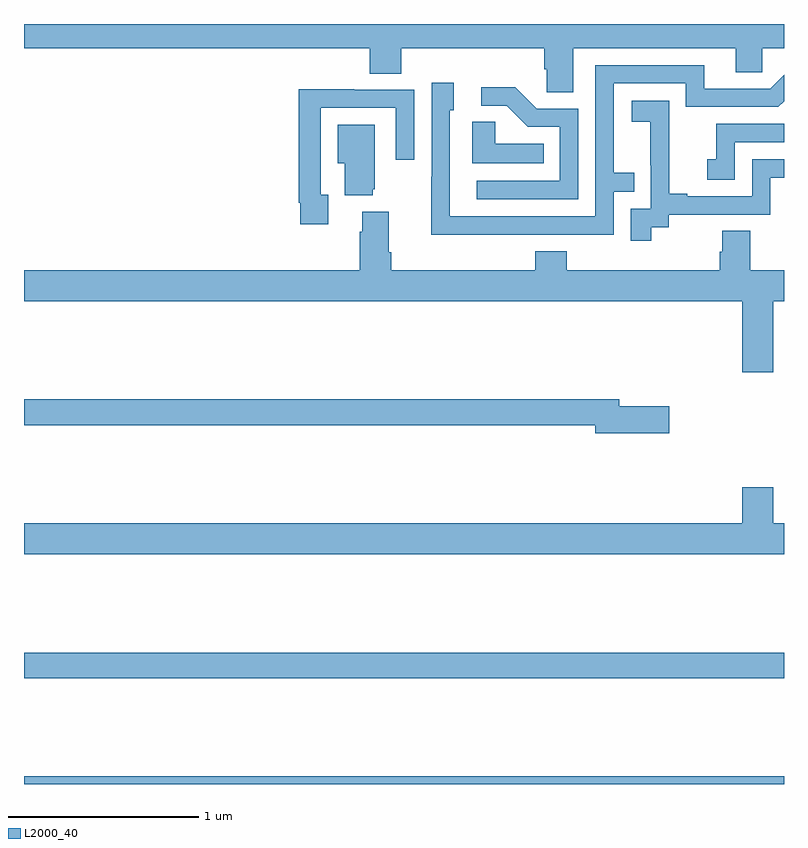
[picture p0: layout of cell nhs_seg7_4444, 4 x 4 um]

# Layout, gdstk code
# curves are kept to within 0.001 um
import gdstk
lib = gdstk.Library(unit=1e-6, precision=1e-09)
def R(c, l, rs):  # rectangles x0, y0, x1, y1
    for r in rs: c.add(gdstk.rectangle(r[:2], r[2:], *l))
def P(c, l, *ps):  # polygons
    for p in ps: c.add(gdstk.Polygon(p, *l))
L2000_40 = (2000, 40)

nhs_seg7_4444 = lib.new_cell('nhs_seg7_4444')
R(nhs_seg7_4444, L2000_40, [(389,1074,393,1074.04), (389,1074.556,393,1074.692)])
P(nhs_seg7_4444, L2000_40, [(391.891,1077.872),(392.747,1077.872),(392.747,1077.745),(392.886,1077.745),(392.886,1077.872),(393,1077.872),(393,1078),(389,1078),(389,1077.872),(390.821,1077.872),(390.821,1077.739),(390.986,1077.739),(390.986,1077.872),(391.739,1077.872),(391.739,1077.763),(391.752,1077.763),(391.752,1077.64),(391.891,1077.64)],
  [(391.607,1076.892),(392.103,1076.892),(392.103,1077.117),(392.213,1077.117),(392.213,1077.218),(392.103,1077.218),(392.103,1077.687),(392.484,1077.687),(392.484,1077.564),(392.97,1077.564),(393,1077.594),(393,1077.732),(392.928,1077.66),(392.581,1077.66),(392.581,1077.783),(392.007,1077.783),(392.007,1076.988),(391.242,1076.988),(391.242,1077.546),(391.261,1077.546),(391.261,1077.691),(391.146,1077.691),(391.146,1077.197),(391.144,1077.197),(391.144,1076.891)],
  [(391.917,1077.555),(391.698,1077.555),(391.585,1077.668),(391.407,1077.668),(391.407,1077.57),(391.541,1077.57),(391.652,1077.459),(391.821,1077.459),(391.821,1077.174),(391.383,1077.174),(391.383,1077.078),(391.917,1077.078)],
  [(390.601,1077.102),(390.561,1077.102),(390.561,1077.558),(390.957,1077.558),(390.957,1077.285),(391.053,1077.285),(391.053,1077.654),(390.737,1077.654),(390.737,1077.656),(390.445,1077.656),(390.445,1077.058),(390.453,1077.058),(390.453,1076.946),(390.601,1076.946)],
  [(392.302,1076.929),(392.394,1076.929),(392.394,1076.997),(392.928,1076.997),(392.928,1077.192),(393,1077.192),(393,1077.288),(392.832,1077.288),(392.832,1077.093),(392.491,1077.093),(392.491,1077.106),(392.396,1077.106),(392.396,1077.389),(392.397,1077.389),(392.397,1077.595),(392.199,1077.595),(392.199,1077.485),(392.297,1077.485),(392.297,1077.257),(392.298,1077.257),(392.298,1077.027),(392.193,1077.027),(392.193,1076.859),(392.302,1076.859)],
  [(391.736,1077.37),(391.479,1077.37),(391.479,1077.485),(391.358,1077.485),(391.358,1077.266),(391.736,1077.266)],
  [(392.742,1077.378),(393,1077.378),(393,1077.474),(392.644,1077.474),(392.644,1077.289),(392.595,1077.289),(392.595,1077.18),(392.742,1077.18)],
  [(390.836,1077.129),(390.847,1077.129),(390.847,1077.469),(390.65,1077.469),(390.65,1077.266),(390.689,1077.266),(390.689,1077.098),(390.836,1077.098)],
  [(392.944,1076.54),(393,1076.54),(393,1076.704),(392.823,1076.704),(392.823,1076.912),(392.675,1076.912),(392.675,1076.802),(392.663,1076.802),(392.663,1076.704),(391.856,1076.704),(391.856,1076.803),(391.691,1076.803),(391.691,1076.704),(390.932,1076.704),(390.932,1076.8),(390.919,1076.8),(390.919,1077.013),(390.779,1077.013),(390.779,1076.906),(390.767,1076.906),(390.767,1076.704),(389,1076.704),(389,1076.54),(392.78,1076.54),(392.78,1076.166),(392.944,1076.166)],
  [(392.395,1075.988),(392.134,1075.988),(392.134,1076.024),(389,1076.024),(389,1075.888),(392.006,1075.888),(392.006,1075.846),(392.395,1075.846)],
  [(393,1075.372),(392.944,1075.372),(392.944,1075.561),(392.78,1075.561),(392.78,1075.372),(389,1075.372),(389,1075.208),(393,1075.208)])

lib.write_gds('nhs_seg7_4444.gds')
